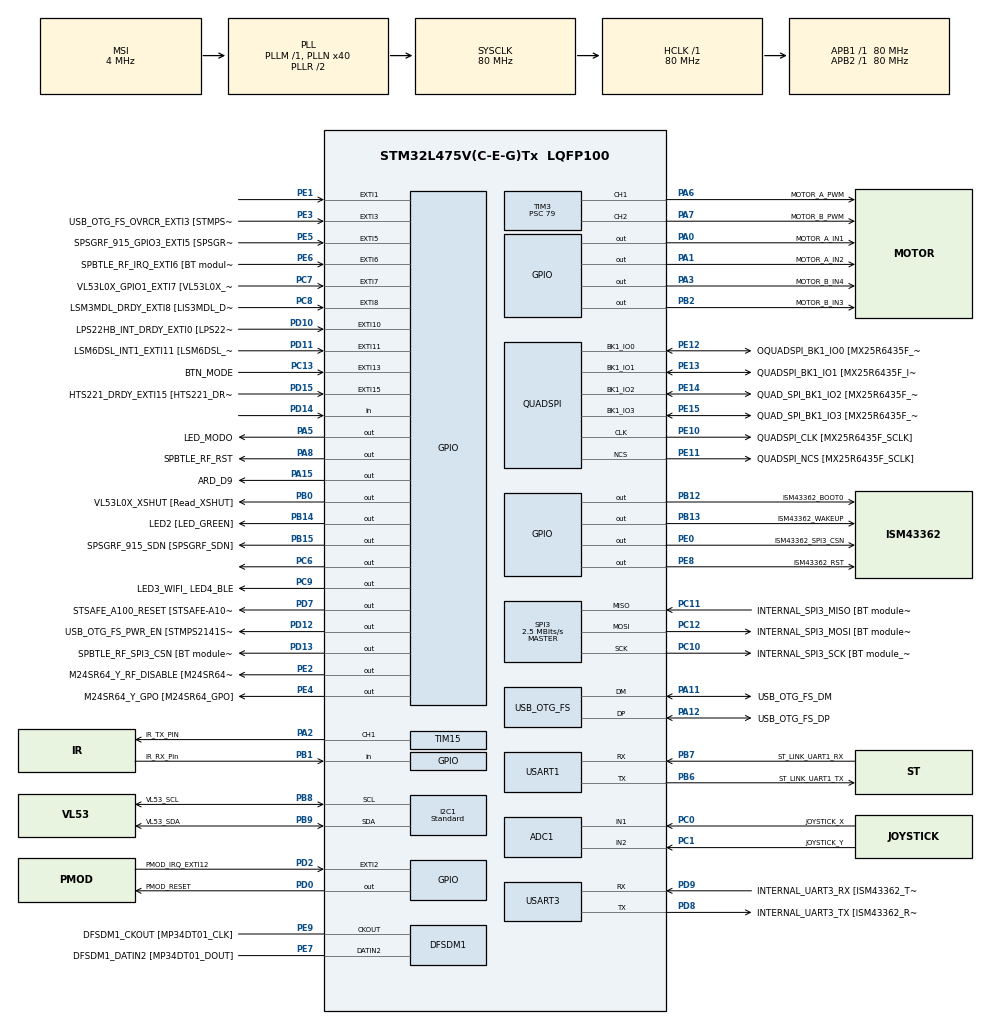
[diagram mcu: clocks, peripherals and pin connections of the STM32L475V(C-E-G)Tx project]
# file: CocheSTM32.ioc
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ADC1.Channel-1\#ChannelRegularConversion=ADC_CHANNEL_1
ADC1.Channel-2\#ChannelRegularConversion=ADC_CHANNEL_2
ADC1.ClockPrescaler=ADC_CLOCK_ASYNC_DIV1
ADC1.ContinuousConvMode=DISABLE
ADC1.EnableRegularConversion=ENABLE
ADC1.NbrOfConversion=2
ADC1.NbrOfConversionFlag=1
ADC1.OffsetNumber-1\#ChannelRegularConversion=ADC_OFFSET_NONE
ADC1.OffsetNumber-2\#ChannelRegularConversion=ADC_OFFSET_NONE
ADC1.Rank-1\#ChannelRegularConversion=1
ADC1.Rank-2\#ChannelRegularConversion=2
ADC1.SamplingTime-1\#ChannelRegularConversion=ADC_SAMPLETIME_247CYCLES_5
ADC1.SamplingTime-2\#ChannelRegularConversion=ADC_SAMPLETIME_247CYCLES_5
ADC1.master=1
I2C1.CustomTiming=Disabled
I2C1.I2C_Speed_Mode=I2C_Standard
I2C1.Speed=100
I2C1.Timing=0x10D19CE4
Mcu.Family=STM32L4
Mcu.Name=STM32L475V(C-E-G)Tx
Mcu.Package=LQFP100
NVIC.EXTI15_10_IRQn=true\:0\:0\:false\:false\:true\:true\:true\:true
NVIC.EXTI1_IRQn=true\:0\:0\:false\:false\:true\:true\:true\:true
NVIC.EXTI9_5_IRQn=true\:0\:0\:false\:false\:true\:true\:true\:true
NVIC.PriorityGroup=NVIC_PRIORITYGROUP_4
NVIC.SPI3_IRQn=true\:0\:0\:false\:false\:true\:true\:true\:true
PA0.GPIO_Label=MOTOR_A_IN1
PA0.Signal=GPIO_Output
PA1.GPIO_Label=MOTOR_A_IN2
PA1.Signal=GPIO_Output
PA10.GPIO_Label=USB_OTG_FS_ID
PA10.Signal=USB_OTG_FS_ID
PA11.GPIO_Label=USB_OTG_FS_DM
PA11.Mode=Device_Only
PA11.Signal=USB_OTG_FS_DM
PA12.GPIO_Label=USB_OTG_FS_DP
PA12.Mode=Device_Only
PA12.Signal=USB_OTG_FS_DP
PA13\ (JTMS-SWDIO).GPIO_Label=SYS_JTMS_SWDIO
PA13\ (JTMS-SWDIO).Mode=Serial_Wire
PA13\ (JTMS-SWDIO).Signal=SYS_JTMS-SWDIO
PA14\ (JTCK-SWCLK).GPIO_Label=SYS_JTCK_SWCLK
PA14\ (JTCK-SWCLK).Mode=Serial_Wire
PA14\ (JTCK-SWCLK).Signal=SYS_JTCK-SWCLK
PA15\ (JTDI).GPIO_Label=ARD_D9
PA15\ (JTDI).Signal=GPIO_Output
PA2.GPIO_Label=IR_TX_PIN
PA2.Signal=S_TIM15_CH1
PA3.GPIO_Label=MOTOR_B_IN4
PA3.Signal=GPIO_Output
PA4.GPIO_Label=ARD_D7
PA4.Signal=ADCx_IN9
PA5.GPIO_Label=LED_MODO
PA5.Signal=GPIO_Output
PA6.GPIO_Label=MOTOR_A_PWM
PA6.Signal=S_TIM3_CH1
PA7.GPIO_Label=MOTOR_B_PWM
PA7.Signal=S_TIM3_CH2
PA8.GPIO_Label=SPBTLE_RF_RST
PA8.Signal=GPIO_Output
PA9.GPIO_Label=USB_OTG_FS_VBUS [STMPS2141STR_OUT]
PA9.Signal=USB_OTG_FS_VBUS
PB0.GPIO_Label=VL53L0X_XSHUT [Read_XSHUT]
PB0.Signal=GPIO_Output
PB1.GPIO_Label=IR_RX_Pin
PB1.Signal=GPIO_Input
PB10.GPIO_Label=INTERNAL_I2C2_SCL [VL53L0X_SCL]
PB10.GPIO_Pu=GPIO_PULLUP
PB10.Signal=I2C2_SCL
PB11.GPIO_Label=INTERNAL_I2C2_SDA [VL53L0X_SDA]
PB11.GPIO_Pu=GPIO_PULLUP
PB11.Signal=I2C2_SDA
PB12.GPIO_Label=ISM43362_BOOT0
PB12.Signal=GPIO_Output
PB13.GPIO_Label=ISM43362_WAKEUP
PB13.Signal=GPIO_Output
PB14.GPIO_Label=LED2 [LED_GREEN]
PB14.Signal=GPIO_Output
PB15.GPIO_Label=SPSGRF_915_SDN [SPSGRF_SDN]
PB15.Signal=GPIO_Output
PB2.GPIO_Label=MOTOR_B_IN3
PB2.Signal=GPIO_Output
PB3\ (JTDO-TRACESWO).GPIO_Label=SYS_JTD0_SWO
PB3\ (JTDO-TRACESWO).Signal=SYS_JTDO-SWO
PB6.GPIO_Label=ST_LINK_UART1_TX
PB6.Mode=Asynchronous
PB6.Signal=USART1_TX
PB7.GPIO_Label=ST_LINK_UART1_RX
PB7.Mode=Asynchronous
PB7.Signal=USART1_RX
PB8.GPIO_Label=VL53_SCL
PB8.GPIO_Pu=GPIO_NOPULL
PB8.Mode=I2C
PB8.Signal=I2C1_SCL
PB9.GPIO_Label=VL53_SDA
PB9.GPIO_Pu=GPIO_NOPULL
PB9.Mode=I2C
PB9.Signal=I2C1_SDA
PC0.GPIO_Label=JOYSTICK_X
PC0.Signal=ADCx_IN1
PC1.GPIO_Label=JOYSTICK_Y
PC1.Signal=ADCx_IN2
PC10.GPIO_Label=INTERNAL_SPI3_SCK [BT module_SPI_SCLK] [ISM43362_SCK]
PC10.Mode=Full_Duplex_Master
PC10.Signal=SPI3_SCK
PC11.GPIO_Label=INTERNAL_SPI3_MISO [BT module_SPI_MISO] [ISM43362_MISO]
PC11.Mode=Full_Duplex_Master
PC11.Signal=SPI3_MISO
PC12.GPIO_Label=INTERNAL_SPI3_MOSI [BT module_SPI_MOSI] [ISM43362_MOSI]
PC12.Mode=Full_Duplex_Master
PC12.Signal=SPI3_MOSI
PC13.GPIO_Label=BTN_MODE
PC13.GPIO_ModeDefaultEXTI=GPIO_MODE_IT_FALLING
PC13.Signal=GPXTI13
PC14-OSC32_IN\ (PC14).Mode=LSE-External-Oscillator
PC14-OSC32_IN\ (PC14).Signal=RCC_OSC32_IN
PC15-OSC32_OUT\ (PC15).Mode=LSE-External-Oscillator
PC15-OSC32_OUT\ (PC15).Signal=RCC_OSC32_OUT
PC2.GPIO_Label=ARD_A3 [ADC]
PC2.Signal=ADCx_IN3
PC3.GPIO_Label=ARD_A2 [ADC]
PC3.Signal=ADCx_IN4
PC4.GPIO_Label=ARD_A1 [ADC]
PC4.Signal=ADCx_IN13
PC5.GPIO_Label=ARD_A0 [ADC]
PC5.Signal=ADCx_IN14
PC6.Signal=GPIO_Output
PC7.GPIO_Label=VL53L0X_GPIO1_EXTI7 [VL53L0X_GPIO1]
PC7.Signal=GPXTI7
PC8.GPIO_Label=LSM3MDL_DRDY_EXTI8 [LIS3MDL_DRDY]
PC8.Signal=GPXTI8
PC9.GPIO_Label=LED3_WIFI_ LED4_BLE
PC9.Signal=GPIO_Output
PD0.GPIO_Label=PMOD_RESET
PD0.Signal=GPIO_Output
PD1.GPIO_Label=PMOD_SPI2_SCK
PD1.Signal=SPI2_SCK
PD10.GPIO_Label=LPS22HB_INT_DRDY_EXTI0 [LPS22HB_INT_DRDY] 
PD10.Signal=GPXTI10
PD11.GPIO_Label=LSM6DSL_INT1_EXTI11 [LSM6DSL_INT1]
PD11.Signal=GPXTI11
PD12.GPIO_Label=USB_OTG_FS_PWR_EN [STMPS2141STR_EN]
PD12.Signal=GPIO_Output
PD13.GPIO_Label=SPBTLE_RF_SPI3_CSN [BT module_SPI_CS]
PD13.PinState=GPIO_PIN_SET
PD13.Signal=GPIO_Output
PD14.Signal=GPIO_Input
PD15.GPIO_Label=HTS221_DRDY_EXTI15 [HTS221_DRDY]
PD15.Signal=GPXTI15
PD2.GPIO_Label=PMOD_IRQ_EXTI12
PD2.Signal=GPXTI2
PD3.GPIO_Label=PMOD_UART2_CTS
PD3.Signal=USART2_CTS
PD4.GPIO_Label=PMOD_UART2_RTS
PD4.Signal=USART2_RTS
PD5.GPIO_Label=PMOD_UART2_TX
PD5.Signal=USART2_TX
PD6.GPIO_Label=PMOD_UART2_RX
PD6.Signal=USART2_RX
PD7.GPIO_Label=STSAFE_A100_RESET [STSAFE-A100_RESET]
PD7.Signal=GPIO_Output
PD8.GPIO_Label=INTERNAL_UART3_TX [ISM43362_RX]
PD8.Mode=Asynchronous
PD8.Signal=USART3_TX
PD9.GPIO_Label=INTERNAL_UART3_RX [ISM43362_TX]
PD9.Mode=Asynchronous
PD9.Signal=USART3_RX
PE0.GPIO_Label=ISM43362_SPI3_CSN
PE0.PinState=GPIO_PIN_SET
PE0.Signal=GPIO_Output
PE1.Signal=GPXTI1
PE10.GPIO_Label=QUADSPI_CLK [MX25R6435F_SCLK]
PE10.Mode=Single Bank
PE10.Signal=QUADSPI_CLK
PE11.GPIO_Label=QUADSPI_NCS [MX25R6435F_SCLK]
PE11.Mode=Single Bank
PE11.Signal=QUADSPI_NCS
PE12.GPIO_Label=OQUADSPI_BK1_IO0 [MX25R6435F_IO0]
PE12.Mode=Single Bank
PE12.Signal=QUADSPI_BK1_IO0
PE13.GPIO_Label=QUADSPI_BK1_IO1 [MX25R6435F_IO1]
PE13.Mode=Single Bank
PE13.Signal=QUADSPI_BK1_IO1
PE14.GPIO_Label=QUAD_SPI_BK1_IO2 [MX25R6435F_IO2]
PE14.Mode=Single Bank
PE14.Signal=QUADSPI_BK1_IO2
PE15.GPIO_Label=QUAD_SPI_BK1_IO3 [MX25R6435F_IO3]
PE15.Mode=Single Bank
PE15.Signal=QUADSPI_BK1_IO3
PE2.GPIO_Label=M24SR64_Y_RF_DISABLE [M24SR64_RFDIS]
PE2.Signal=GPIO_Output
PE3.GPIO_Label=USB_OTG_FS_OVRCR_EXTI3 [STMPS2141STR_FAULT]
PE3.Signal=GPXTI3
PE4.GPIO_Label=M24SR64_Y_GPO [M24SR64_GPO]
PE4.Signal=GPIO_Output
PE5.GPIO_Label=SPSGRF_915_GPIO3_EXTI5 [SPSGRF_GPIO_3]
PE5.Signal=GPXTI5
PE6.GPIO_Label=SPBTLE_RF_IRQ_EXTI6 [BT module_SPI_IRQ]
PE6.Signal=GPXTI6
PE7.GPIO_Label=DFSDM1_DATIN2 [MP34DT01_DOUT]
PE7.Signal=S_DATAIN2DFSDM1
PE8.GPIO_Label=ISM43362_RST
PE8.Signal=GPIO_Output
PE9.GPIO_Label=DFSDM1_CKOUT [MP34DT01_CLK]
PE9.Signal=S_CKOUTDFSDM1
ProjectManager.HeapSize=0x2000
ProjectManager.StackSize=0x4000
ProjectManager.TargetToolchain=STM32CubeIDE
QUADSPI.ClockPrescaler=2
QUADSPI.FifoThreshold=4
QUADSPI.FlashSize=23
QUADSPI.SampleShifting=QSPI_SAMPLE_SHIFTING_HALFCYCLE
RCC.ADCFreq_Value=48000000
RCC.AHBFreq_Value=80000000
RCC.APB1Freq_Value=80000000
RCC.APB1TimFreq_Value=80000000
RCC.APB2Freq_Value=80000000
RCC.APB2TimFreq_Value=80000000
RCC.CortexFreq_Value=80000000
RCC.HCLKFreq_Value=80000000
RCC.HSE_VALUE=8000000
RCC.HSI_VALUE=16000000
RCC.MSI_VALUE=4000000
RCC.PLLN=40
RCC.PLLSAI1N=24
RCC.SYSCLKFreq_VALUE=80000000
RCC.SYSCLKSource=RCC_SYSCLKSOURCE_PLLCLK
RCC.USBFreq_Value=48000000
RCC.VCOOutputFreq_Value=160000000
SH.ADCx_IN1.0=ADC1_IN1,IN1-Single-Ended
SH.ADCx_IN13.0=ADC1_IN13
SH.ADCx_IN14.0=ADC1_IN14
SH.ADCx_IN2.0=ADC1_IN2,IN2-Single-Ended
SH.ADCx_IN3.0=ADC1_IN3
SH.ADCx_IN4.0=ADC1_IN4
SH.ADCx_IN9.0=ADC1_IN9
SH.S_CKOUTDFSDM1.0=DFSDM1_CKOUT,CKOUT
SH.S_CKOUTDFSDM1.1=DFSDM1_CKOUT,PDM_SPI_Input_from_ch12_and_Internal_Clock
SH.S_DATAIN2DFSDM1.0=DFSDM1_DATIN2,PDM_SPI_Input_from_ch12_and_Internal_Clock
SH.S_TIM15_CH1.0=TIM15_CH1,PWM Generation1 CH1
SH.S_TIM3_CH1.0=TIM3_CH1,PWM Generation1 CH1
SH.S_TIM3_CH2.0=TIM3_CH2,PWM Generation2 CH2
SPI3.BaudRatePrescaler=SPI_BAUDRATEPRESCALER_32
SPI3.CLKPhase=SPI_PHASE_2EDGE
SPI3.CLKPolarity=SPI_POLARITY_HIGH
SPI3.CalculateBaudRate=2.5 MBits/s
SPI3.DataSize=SPI_DATASIZE_8BIT
SPI3.Direction=SPI_DIRECTION_2LINES
SPI3.Mode=SPI_MODE_MASTER
SPI3.VirtualType=VM_MASTER
TIM15.Channel-PWM\ Generation1\ CH1=TIM_CHANNEL_1
TIM15.Period=2104
TIM15.Pulse-PWM\ Generation1\ CH1=1052
TIM3.Channel-PWM\ Generation1\ CH1=TIM_CHANNEL_1
TIM3.Channel-PWM\ Generation2\ CH2=TIM_CHANNEL_2
TIM3.OCPolarity_1=TIM_OCPOLARITY_HIGH
TIM3.OCPolarity_2=TIM_OCPOLARITY_HIGH
TIM3.Period=1000
TIM3.Prescaler=79
USART1.VirtualMode-Asynchronous=VM_ASYNC
USART3.VirtualMode-Asynchronous=VM_ASYNC
USB_OTG_FS.VirtualMode=Device_Only
board=B-L475E-IOT01A1

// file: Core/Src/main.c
/* USER CODE BEGIN Header */
/**
 ******************************************************************************
 * @file           : main.c
 * @brief          : Main program body
 ******************************************************************************
 * @attention
 *
 * Copyright (c) 2026 STMicroelectronics.
 * All rights reserved.
 *
 * This software is licensed under terms that can be found in the LICENSE file
 * in the root directory of this software component.
 * If no LICENSE file comes with this software, it is provided AS-IS.
 *
 ******************************************************************************
 */
/* USER CODE END Header */
#include "main.h"

/* USER CODE BEGIN Includes */
#include <stdio.h>
#include "joystick_motor.h"
#include "VL53_Seguimiento.h"
#include "Estado_LED.h"
#include "Comunicacion_Wifi.h"
#include "Infrarojo_id.h"

/* USER CODE END Includes */

ADC_HandleTypeDef hadc1;

DFSDM_Channel_HandleTypeDef hdfsdm1_channel1;

I2C_HandleTypeDef hi2c1;

QSPI_HandleTypeDef hqspi;

SPI_HandleTypeDef hspi3;

TIM_HandleTypeDef htim3;
TIM_HandleTypeDef htim15;

UART_HandleTypeDef huart1;
UART_HandleTypeDef huart3;

PCD_HandleTypeDef hpcd_USB_OTG_FS;

/* USER CODE BEGIN PV */
extern UART_HandleTypeDef huart1;
uint8_t MI_PROPIA_ID = 0;

int _write(int file, char *ptr, int len) {
	HAL_UART_Transmit(&huart1, (uint8_t*) ptr, len, HAL_MAX_DELAY);
	return len;
}

uint16_t dist_mm = 0;
COCHE_ESTADO_t estadoCoche = MODO_MANUAL;
uint8_t Generar_ID_Unica(void);
/* USER CODE END PV */

void SystemClock_Config(void);
void PeriphCommonClock_Config(void);
static void MX_GPIO_Init(void);
static void MX_DFSDM1_Init(void);
static void MX_QUADSPI_Init(void);
static void MX_SPI3_Init(void);
static void MX_USB_OTG_FS_PCD_Init(void);
static void MX_ADC1_Init(void);
static void MX_TIM3_Init(void);
static void MX_I2C1_Init(void);
static void MX_USART1_UART_Init(void);
static void MX_USART3_UART_Init(void);
static void MX_TIM15_Init(void);

int main(void)
{

  /* MCU Configuration--------------------------------------------------------*/

  /* Reset of all peripherals, Initializes the Flash interface and the Systick. */
  HAL_Init();

  /* Configure the system clock */
  SystemClock_Config();

  /* Configure the peripherals common clocks */
  PeriphCommonClock_Config();

  /* Initialize all configured peripherals */
  MX_GPIO_Init();
  MX_DFSDM1_Init();
  MX_QUADSPI_Init();
  MX_SPI3_Init();
  MX_USB_OTG_FS_PCD_Init();
  MX_ADC1_Init();
  MX_TIM3_Init();
  MX_I2C1_Init();
  MX_USART1_UART_Init();
  MX_USART3_UART_Init();
  MX_TIM15_Init();
  /* USER CODE BEGIN 2 */
	HAL_GPIO_WritePin(GPIOE, GPIO_PIN_8, GPIO_PIN_RESET);
	HAL_Delay(100);

    JoystickMotor_Init();
    JoystickMotor_Init();
    MI_PROPIA_ID = Generar_ID_Unica();
    printf("Mi ID de vehiculo es: %d\r\n", MI_PROPIA_ID);
	LED_Init();
	Seguimiento_Init();
	HAL_Delay(500);
	Infrarrojo_Init();
	HAL_Delay(500);

	HAL_GPIO_WritePin(GPIOE, GPIO_PIN_8, GPIO_PIN_SET);
	HAL_Delay(500);

	Wifi_Init_System();
  /* USER CODE END 2 */

  /* Infinite loop */
  /* USER CODE BEGIN WHILE */
	//int16_t vel_simulada = 0;
	uint32_t wifi_tick = 0;
	printf("Listo para emparejar la ID\r\n");
	while (1) {
		/* ================= FUNCIONES PRUEBA MOVIMIENTOS BASICOS DEL COCHE ================= */
		// Dentro del while(1) de tu main.c
//		int16_t mi_potencia = 1000;
//		printf("Enviando a motores: %d\r\n", mi_potencia);
//		Motor_Set(mi_potencia, -mi_potencia);
		/*HAL_Delay(2000);

		 Motor_Set(0, 600);
		 HAL_Delay(2000);

		 Motor_Stop();
		 HAL_Delay(2000);
		 */

		/* ================= FUNCIONES PRUEBA MANEJO DEL COCHE ================= */
//		Joystick_Update();
//		 HAL_Delay(200);
//		/* ================= FUNCIONES PRUEBA SEGUIMIENTO DEL COCHE ================= */
//		Seguimiento_Update();
//		HAL_Delay(50);
		/* ================= FUNCION PRUEBA WIFI ================= */;
		/*vel_simulada += 10;
		 if (vel_simulada > 100)
		 vel_simulada = 0;

		 Wifi_Enviar_Datos(vel_simulada, 45, 0);

		 printf("Paquete enviado -> Vel: %d, Ang: 45, Freno: 0\r\n",
		 vel_simulada);

		 HAL_Delay(1000); // Mandar un paquete cada segundo

		 /* ================= FUNCIONES MODOS DEL COCHE ================= */
		/*Wifi_Recibir_Datos();

		 if (cocheModo == CocheModo_MANUAL) {
		 Joystick_Update();
		 estadoCoche = MODO_MANUAL;
		 } else {
		 SeguimientoState_t f = Seguimiento_Update();

		 if (f == Seguimiento_PARADA_EMERGENCIA)
		 estadoCoche = MODO_AUTO_STOP;
		 else if (f == Seguimiento_FRENADO)
		 estadoCoche = MODO_AUTO_FRENANDO;
		 else
		 estadoCoche = MODO_AUTO_SEGUIMIENTO;
		 }

		 LED_Update(estadoCoche);

		 //Para evitar saturacion(Sin esto se queda muy atascado, preguntar para el tema de giro si afecta)
		 if (HAL_GetTick() - wifi_tick >= 100) {
		 wifi_tick = HAL_GetTick();
		 Wifi_Enviar_Datos(g_velocidad, g_angulo, g_freno);
		 printf("Paquete enviado -> Vel: %d, Ang: %d, Freno: %d\r\n",
		 g_velocidad, g_angulo, g_freno);
		 }

		 HAL_Delay(5);*/

		// Control de Modos
		if (cocheModo == CocheModo_MANUAL) {
			Joystick_Update();
			estadoCoche = MODO_MANUAL;
		} else {
			// El modo automático gestiona su propio WiFi de recepción internamente
			SeguimientoState_t f = Seguimiento_Update();

			if (f == Seguimiento_PARADA_EMERGENCIA)
				estadoCoche = MODO_AUTO_STOP;
			else if (f == Seguimiento_FRENADO)
				estadoCoche = MODO_AUTO_FRENANDO;
			else if (f == Seguimiento_BUSCANDO)
				estadoCoche = MODO_AUTO_SEGUIMIENTO; // Parpadea el led
			else
				estadoCoche = MODO_AUTO_SEGUIMIENTO;
		}

		LED_Update(estadoCoche);

		// Limita el envio de mensaje por WIFI para evitar que se sature
		if (cocheModo == CocheModo_MANUAL
				&& (HAL_GetTick() - wifi_tick >= 100)) {
			wifi_tick = HAL_GetTick();
			Wifi_Enviar_Datos(MI_PROPIA_ID, g_velocidad, g_angulo, g_freno);
			Infrarrojo_Enviar_ID(MI_PROPIA_ID);
		}

		HAL_Delay(5);

    /* USER CODE END WHILE */

	}
}

void SystemClock_Config(void)
{
  RCC_OscInitTypeDef RCC_OscInitStruct = {0};
  RCC_ClkInitTypeDef RCC_ClkInitStruct = {0};

  /** Configure the main internal regulator output voltage
  */
  if (HAL_PWREx_ControlVoltageScaling(PWR_REGULATOR_VOLTAGE_SCALE1) != HAL_OK)
  {
    Error_Handler();
  }

  /** Configure LSE Drive Capability
  */
  HAL_PWR_EnableBkUpAccess();
  __HAL_RCC_LSEDRIVE_CONFIG(RCC_LSEDRIVE_LOW);

  /** Initializes the RCC Oscillators according to the specified parameters
  * in the RCC_OscInitTypeDef structure.
  */
  RCC_OscInitStruct.OscillatorType = RCC_OSCILLATORTYPE_LSE|RCC_OSCILLATORTYPE_MSI;
  RCC_OscInitStruct.LSEState = RCC_LSE_ON;
  RCC_OscInitStruct.MSIState = RCC_MSI_ON;
  RCC_OscInitStruct.MSICalibrationValue = 0;
  RCC_OscInitStruct.MSIClockRange = RCC_MSIRANGE_6;
  RCC_OscInitStruct.PLL.PLLState = RCC_PLL_ON;
  RCC_OscInitStruct.PLL.PLLSource = RCC_PLLSOURCE_MSI;
  RCC_OscInitStruct.PLL.PLLM = 1;
  RCC_OscInitStruct.PLL.PLLN = 40;
  RCC_OscInitStruct.PLL.PLLP = RCC_PLLP_DIV7;
  RCC_OscInitStruct.PLL.PLLQ = RCC_PLLQ_DIV2;
  RCC_OscInitStruct.PLL.PLLR = RCC_PLLR_DIV2;
  if (HAL_RCC_OscConfig(&RCC_OscInitStruct) != HAL_OK)
  {
    Error_Handler();
  }

  /** Initializes the CPU, AHB and APB buses clocks
  */
  RCC_ClkInitStruct.ClockType = RCC_CLOCKTYPE_HCLK|RCC_CLOCKTYPE_SYSCLK
                              |RCC_CLOCKTYPE_PCLK1|RCC_CLOCKTYPE_PCLK2;
  RCC_ClkInitStruct.SYSCLKSource = RCC_SYSCLKSOURCE_PLLCLK;
  RCC_ClkInitStruct.AHBCLKDivider = RCC_SYSCLK_DIV1;
  RCC_ClkInitStruct.APB1CLKDivider = RCC_HCLK_DIV1;
  RCC_ClkInitStruct.APB2CLKDivider = RCC_HCLK_DIV1;

  if (HAL_RCC_ClockConfig(&RCC_ClkInitStruct, FLASH_LATENCY_4) != HAL_OK)
  {
    Error_Handler();
  }

  /** Enable MSI Auto calibration
  */
  HAL_RCCEx_EnableMSIPLLMode();
}

void PeriphCommonClock_Config(void)
{
  RCC_PeriphCLKInitTypeDef PeriphClkInit = {0};

  /** Initializes the peripherals clock
  */
  PeriphClkInit.PeriphClockSelection = RCC_PERIPHCLK_USB|RCC_PERIPHCLK_ADC;
  PeriphClkInit.AdcClockSelection = RCC_ADCCLKSOURCE_PLLSAI1;
  PeriphClkInit.UsbClockSelection = RCC_USBCLKSOURCE_PLLSAI1;
  PeriphClkInit.PLLSAI1.PLLSAI1Source = RCC_PLLSOURCE_MSI;
  PeriphClkInit.PLLSAI1.PLLSAI1M = 1;
  PeriphClkInit.PLLSAI1.PLLSAI1N = 24;
  PeriphClkInit.PLLSAI1.PLLSAI1P = RCC_PLLP_DIV7;
  PeriphClkInit.PLLSAI1.PLLSAI1Q = RCC_PLLQ_DIV2;
  PeriphClkInit.PLLSAI1.PLLSAI1R = RCC_PLLR_DIV2;
  PeriphClkInit.PLLSAI1.PLLSAI1ClockOut = RCC_PLLSAI1_48M2CLK|RCC_PLLSAI1_ADC1CLK;
  if (HAL_RCCEx_PeriphCLKConfig(&PeriphClkInit) != HAL_OK)
  {
    Error_Handler();
  }
}

static void MX_ADC1_Init(void)
{

  ADC_MultiModeTypeDef multimode = {0};
  ADC_ChannelConfTypeDef sConfig = {0};

  /** Common config
  */
  hadc1.Instance = ADC1;
  hadc1.Init.ClockPrescaler = ADC_CLOCK_ASYNC_DIV1;
  hadc1.Init.Resolution = ADC_RESOLUTION_12B;
  hadc1.Init.DataAlign = ADC_DATAALIGN_RIGHT;
  hadc1.Init.ScanConvMode = ADC_SCAN_ENABLE;
  hadc1.Init.EOCSelection = ADC_EOC_SINGLE_CONV;
  hadc1.Init.LowPowerAutoWait = DISABLE;
  hadc1.Init.ContinuousConvMode = DISABLE;
  hadc1.Init.NbrOfConversion = 2;
  hadc1.Init.DiscontinuousConvMode = DISABLE;
  hadc1.Init.ExternalTrigConv = ADC_SOFTWARE_START;
  hadc1.Init.ExternalTrigConvEdge = ADC_EXTERNALTRIGCONVEDGE_NONE;
  hadc1.Init.DMAContinuousRequests = DISABLE;
  hadc1.Init.Overrun = ADC_OVR_DATA_PRESERVED;
  hadc1.Init.OversamplingMode = DISABLE;
  if (HAL_ADC_Init(&hadc1) != HAL_OK)
  {
    Error_Handler();
  }

  /** Configure the ADC multi-mode
  */
  multimode.Mode = ADC_MODE_INDEPENDENT;
  if (HAL_ADCEx_MultiModeConfigChannel(&hadc1, &multimode) != HAL_OK)
  {
    Error_Handler();
  }

  /** Configure Regular Channel
  */
  sConfig.Channel = ADC_CHANNEL_1;
  sConfig.Rank = ADC_REGULAR_RANK_1;
  sConfig.SamplingTime = ADC_SAMPLETIME_247CYCLES_5;
  sConfig.SingleDiff = ADC_SINGLE_ENDED;
  sConfig.OffsetNumber = ADC_OFFSET_NONE;
  sConfig.Offset = 0;
  if (HAL_ADC_ConfigChannel(&hadc1, &sConfig) != HAL_OK)
  {
    Error_Handler();
  }

  /** Configure Regular Channel
  */
  sConfig.Channel = ADC_CHANNEL_2;
  sConfig.Rank = ADC_REGULAR_RANK_2;
  if (HAL_ADC_ConfigChannel(&hadc1, &sConfig) != HAL_OK)
  {
    Error_Handler();
  }

}

static void MX_DFSDM1_Init(void)
{

  hdfsdm1_channel1.Instance = DFSDM1_Channel1;
  hdfsdm1_channel1.Init.OutputClock.Activation = ENABLE;
  hdfsdm1_channel1.Init.OutputClock.Selection = DFSDM_CHANNEL_OUTPUT_CLOCK_SYSTEM;
  hdfsdm1_channel1.Init.OutputClock.Divider = 2;
  hdfsdm1_channel1.Init.Input.Multiplexer = DFSDM_CHANNEL_EXTERNAL_INPUTS;
  hdfsdm1_channel1.Init.Input.DataPacking = DFSDM_CHANNEL_STANDARD_MODE;
  hdfsdm1_channel1.Init.Input.Pins = DFSDM_CHANNEL_FOLLOWING_CHANNEL_PINS;
  hdfsdm1_channel1.Init.SerialInterface.Type = DFSDM_CHANNEL_SPI_RISING;
  hdfsdm1_channel1.Init.SerialInterface.SpiClock = DFSDM_CHANNEL_SPI_CLOCK_INTERNAL;
  hdfsdm1_channel1.Init.Awd.FilterOrder = DFSDM_CHANNEL_FASTSINC_ORDER;
  hdfsdm1_channel1.Init.Awd.Oversampling = 1;
  hdfsdm1_channel1.Init.Offset = 0;
  hdfsdm1_channel1.Init.RightBitShift = 0x00;
  if (HAL_DFSDM_ChannelInit(&hdfsdm1_channel1) != HAL_OK)
  {
    Error_Handler();
  }

}

static void MX_I2C1_Init(void)
{

  hi2c1.Instance = I2C1;
  hi2c1.Init.Timing = 0x10D19CE4;
  hi2c1.Init.OwnAddress1 = 0;
  hi2c1.Init.AddressingMode = I2C_ADDRESSINGMODE_7BIT;
  hi2c1.Init.DualAddressMode = I2C_DUALADDRESS_DISABLE;
  hi2c1.Init.OwnAddress2 = 0;
  hi2c1.Init.OwnAddress2Masks = I2C_OA2_NOMASK;
  hi2c1.Init.GeneralCallMode = I2C_GENERALCALL_DISABLE;
  hi2c1.Init.NoStretchMode = I2C_NOSTRETCH_DISABLE;
  if (HAL_I2C_Init(&hi2c1) != HAL_OK)
  {
    Error_Handler();
  }

  /** Configure Analogue filter
  */
  if (HAL_I2CEx_ConfigAnalogFilter(&hi2c1, I2C_ANALOGFILTER_ENABLE) != HAL_OK)
  {
    Error_Handler();
  }

  /** Configure Digital filter
  */
  if (HAL_I2CEx_ConfigDigitalFilter(&hi2c1, 0) != HAL_OK)
  {
    Error_Handler();
  }

}

static void MX_QUADSPI_Init(void)
{

  /* QUADSPI parameter configuration*/
  hqspi.Instance = QUADSPI;
  hqspi.Init.ClockPrescaler = 2;
  hqspi.Init.FifoThreshold = 4;
  hqspi.Init.SampleShifting = QSPI_SAMPLE_SHIFTING_HALFCYCLE;
  hqspi.Init.FlashSize = 23;
  hqspi.Init.ChipSelectHighTime = QSPI_CS_HIGH_TIME_1_CYCLE;
  hqspi.Init.ClockMode = QSPI_CLOCK_MODE_0;
  if (HAL_QSPI_Init(&hqspi) != HAL_OK)
  {
    Error_Handler();
  }

}

static void MX_SPI3_Init(void)
{

  /* SPI3 parameter configuration*/
  hspi3.Instance = SPI3;
  hspi3.Init.Mode = SPI_MODE_MASTER;
  hspi3.Init.Direction = SPI_DIRECTION_2LINES;
  hspi3.Init.DataSize = SPI_DATASIZE_8BIT;
  hspi3.Init.CLKPolarity = SPI_POLARITY_HIGH;
  hspi3.Init.CLKPhase = SPI_PHASE_2EDGE;
  hspi3.Init.NSS = SPI_NSS_SOFT;
  hspi3.Init.BaudRatePrescaler = SPI_BAUDRATEPRESCALER_32;
  hspi3.Init.FirstBit = SPI_FIRSTBIT_MSB;
  hspi3.Init.TIMode = SPI_TIMODE_DISABLE;
  hspi3.Init.CRCCalculation = SPI_CRCCALCULATION_DISABLE;
  hspi3.Init.CRCPolynomial = 7;
  hspi3.Init.CRCLength = SPI_CRC_LENGTH_DATASIZE;
  hspi3.Init.NSSPMode = SPI_NSS_PULSE_DISABLE;
  if (HAL_SPI_Init(&hspi3) != HAL_OK)
  {
    Error_Handler();
  }

}

static void MX_TIM3_Init(void)
{

  TIM_MasterConfigTypeDef sMasterConfig = {0};
  TIM_OC_InitTypeDef sConfigOC = {0};

  htim3.Instance = TIM3;
  htim3.Init.Prescaler = 79;
  htim3.Init.CounterMode = TIM_COUNTERMODE_UP;
  htim3.Init.Period = 1000;
  htim3.Init.ClockDivision = TIM_CLOCKDIVISION_DIV1;
  htim3.Init.AutoReloadPreload = TIM_AUTORELOAD_PRELOAD_DISABLE;
  if (HAL_TIM_PWM_Init(&htim3) != HAL_OK)
  {
    Error_Handler();
  }
  sMasterConfig.MasterOutputTrigger = TIM_TRGO_RESET;
  sMasterConfig.MasterSlaveMode = TIM_MASTERSLAVEMODE_DISABLE;
  if (HAL_TIMEx_MasterConfigSynchronization(&htim3, &sMasterConfig) != HAL_OK)
  {
    Error_Handler();
  }
  sConfigOC.OCMode = TIM_OCMODE_PWM1;
  sConfigOC.Pulse = 0;
  sConfigOC.OCPolarity = TIM_OCPOLARITY_HIGH;
  sConfigOC.OCFastMode = TIM_OCFAST_DISABLE;
  if (HAL_TIM_PWM_ConfigChannel(&htim3, &sConfigOC, TIM_CHANNEL_1) != HAL_OK)
  {
    Error_Handler();
  }
  if (HAL_TIM_PWM_ConfigChannel(&htim3, &sConfigOC, TIM_CHANNEL_2) != HAL_OK)
  {
    Error_Handler();
  }
  HAL_TIM_MspPostInit(&htim3);

}

static void MX_TIM15_Init(void)
{

  TIM_MasterConfigTypeDef sMasterConfig = {0};
  TIM_OC_InitTypeDef sConfigOC = {0};
  TIM_BreakDeadTimeConfigTypeDef sBreakDeadTimeConfig = {0};

  htim15.Instance = TIM15;
  htim15.Init.Prescaler = 0;
  htim15.Init.CounterMode = TIM_COUNTERMODE_UP;
  htim15.Init.Period = 2104;
  htim15.Init.ClockDivision = TIM_CLOCKDIVISION_DIV1;
  htim15.Init.RepetitionCounter = 0;
  htim15.Init.AutoReloadPreload = TIM_AUTORELOAD_PRELOAD_DISABLE;
  if (HAL_TIM_PWM_Init(&htim15) != HAL_OK)
  {
    Error_Handler();
  }
  sMasterConfig.MasterOutputTrigger = TIM_TRGO_RESET;
  sMasterConfig.MasterSlaveMode = TIM_MASTERSLAVEMODE_DISABLE;
  if (HAL_TIMEx_MasterConfigSynchronization(&htim15, &sMasterConfig) != HAL_OK)
  {
    Error_Handler();
  }
  sConfigOC.OCMode = TIM_OCMODE_PWM1;
  sConfigOC.Pulse = 1052;
  sConfigOC.OCPolarity = TIM_OCPOLARITY_HIGH;
  sConfigOC.OCNPolarity = TIM_OCNPOLARITY_HIGH;
  sConfigOC.OCFastMode = TIM_OCFAST_DISABLE;
  sConfigOC.OCIdleState = TIM_OCIDLESTATE_RESET;
  sConfigOC.OCNIdleState = TIM_OCNIDLESTATE_RESET;
  if (HAL_TIM_PWM_ConfigChannel(&htim15, &sConfigOC, TIM_CHANNEL_1) != HAL_OK)
  {
    Error_Handler();
  }
  sBreakDeadTimeConfig.OffStateRunMode = TIM_OSSR_DISABLE;
  sBreakDeadTimeConfig.OffStateIDLEMode = TIM_OSSI_DISABLE;
  sBreakDeadTimeConfig.LockLevel = TIM_LOCKLEVEL_OFF;
  sBreakDeadTimeConfig.DeadTime = 0;
  sBreakDeadTimeConfig.BreakState = TIM_BREAK_DISABLE;
  sBreakDeadTimeConfig.BreakPolarity = TIM_BREAKPOLARITY_HIGH;
  sBreakDeadTimeConfig.AutomaticOutput = TIM_AUTOMATICOUTPUT_DISABLE;
  if (HAL_TIMEx_ConfigBreakDeadTime(&htim15, &sBreakDeadTimeConfig) != HAL_OK)
  {
    Error_Handler();
  }
  HAL_TIM_MspPostInit(&htim15);

}

static void MX_USART1_UART_Init(void)
{

  huart1.Instance = USART1;
  huart1.Init.BaudRate = 115200;
  huart1.Init.WordLength = UART_WORDLENGTH_8B;
  huart1.Init.StopBits = UART_STOPBITS_1;
  huart1.Init.Parity = UART_PARITY_NONE;
  huart1.Init.Mode = UART_MODE_TX_RX;
  huart1.Init.HwFlowCtl = UART_HWCONTROL_NONE;
  huart1.Init.OverSampling = UART_OVERSAMPLING_16;
  huart1.Init.OneBitSampling = UART_ONE_BIT_SAMPLE_DISABLE;
  huart1.AdvancedInit.AdvFeatureInit = UART_ADVFEATURE_NO_INIT;
  if (HAL_UART_Init(&huart1) != HAL_OK)
  {
    Error_Handler();
  }

}

static void MX_USART3_UART_Init(void)
{

  huart3.Instance = USART3;
  huart3.Init.BaudRate = 115200;
  huart3.Init.WordLength = UART_WORDLENGTH_8B;
  huart3.Init.StopBits = UART_STOPBITS_1;
  huart3.Init.Parity = UART_PARITY_NONE;
  huart3.Init.Mode = UART_MODE_TX_RX;
  huart3.Init.HwFlowCtl = UART_HWCONTROL_NONE;
  huart3.Init.OverSampling = UART_OVERSAMPLING_16;
  huart3.Init.OneBitSampling = UART_ONE_BIT_SAMPLE_DISABLE;
  huart3.AdvancedInit.AdvFeatureInit = UART_ADVFEATURE_NO_INIT;
  if (HAL_UART_Init(&huart3) != HAL_OK)
  {
    Error_Handler();
  }

}

static void MX_USB_OTG_FS_PCD_Init(void)
{

  hpcd_USB_OTG_FS.Instance = USB_OTG_FS;
  hpcd_USB_OTG_FS.Init.dev_endpoints = 6;
  hpcd_USB_OTG_FS.Init.speed = PCD_SPEED_FULL;
  hpcd_USB_OTG_FS.Init.phy_itface = PCD_PHY_EMBEDDED;
  hpcd_USB_OTG_FS.Init.Sof_enable = DISABLE;
  hpcd_USB_OTG_FS.Init.low_power_enable = DISABLE;
  hpcd_USB_OTG_FS.Init.lpm_enable = DISABLE;
  hpcd_USB_OTG_FS.Init.battery_charging_enable = DISABLE;
  hpcd_USB_OTG_FS.Init.use_dedicated_ep1 = DISABLE;
  hpcd_USB_OTG_FS.Init.vbus_sensing_enable = DISABLE;
  if (HAL_PCD_Init(&hpcd_USB_OTG_FS) != HAL_OK)
  {
    Error_Handler();
  }

}

static void MX_GPIO_Init(void)
{
  GPIO_InitTypeDef GPIO_InitStruct = {0};

  /* GPIO Ports Clock Enable */
  __HAL_RCC_GPIOE_CLK_ENABLE();
  __HAL_RCC_GPIOC_CLK_ENABLE();
  __HAL_RCC_GPIOA_CLK_ENABLE();
  __HAL_RCC_GPIOB_CLK_ENABLE();
  __HAL_RCC_GPIOD_CLK_ENABLE();

  /*Configure GPIO pin Output Level */
  HAL_GPIO_WritePin(GPIOE, M24SR64_Y_RF_DISABLE_Pin|M24SR64_Y_GPO_Pin|ISM43362_RST_Pin, GPIO_PIN_RESET);

  /*Configure GPIO pin Output Level */
  HAL_GPIO_WritePin(GPIOA, MOTOR_A_IN1_Pin|MOTOR_A_IN2_Pin|MOTOR_B_IN4_Pin|LED_MODO_Pin
                          |SPBTLE_RF_RST_Pin|ARD_D9_Pin, GPIO_PIN_RESET);

  /*Configure GPIO pin Output Level */
  HAL_GPIO_WritePin(GPIOB, VL53L0X_XSHUT_Pin|MOTOR_B_IN3_Pin|ISM43362_BOOT0_Pin|ISM43362_WAKEUP_Pin
                          |LED2_Pin|SPSGRF_915_SDN_Pin, GPIO_PIN_RESET);

  /*Configure GPIO pin Output Level */
  HAL_GPIO_WritePin(GPIOD, USB_OTG_FS_PWR_EN_Pin|PMOD_RESET_Pin|STSAFE_A100_RESET_Pin, GPIO_PIN_RESET);

  /*Configure GPIO pin Output Level */
  HAL_GPIO_WritePin(SPBTLE_RF_SPI3_CSN_GPIO_Port, SPBTLE_RF_SPI3_CSN_Pin, GPIO_PIN_SET);

  /*Configure GPIO pin Output Level */
  HAL_GPIO_WritePin(GPIOC, GPIO_PIN_6|LED3_WIFI__LED4_BLE_Pin, GPIO_PIN_RESET);

  /*Configure GPIO pin Output Level */
  HAL_GPIO_WritePin(ISM43362_SPI3_CSN_GPIO_Port, ISM43362_SPI3_CSN_Pin, GPIO_PIN_SET);

  /*Configure GPIO pins : M24SR64_Y_RF_DISABLE_Pin M24SR64_Y_GPO_Pin ISM43362_RST_Pin ISM43362_SPI3_CSN_Pin */
  GPIO_InitStruct.Pin = M24SR64_Y_RF_DISABLE_Pin|M24SR64_Y_GPO_Pin|ISM43362_RST_Pin|ISM43362_SPI3_CSN_Pin;
  GPIO_InitStruct.Mode = GPIO_MODE_OUTPUT_PP;
  GPIO_InitStruct.Pull = GPIO_NOPULL;
  GPIO_InitStruct.Speed = GPIO_SPEED_FREQ_LOW;
  HAL_GPIO_Init(GPIOE, &GPIO_InitStruct);

  /*Configure GPIO pins : USB_OTG_FS_OVRCR_EXTI3_Pin SPSGRF_915_GPIO3_EXTI5_Pin SPBTLE_RF_IRQ_EXTI6_Pin PE1 */
  GPIO_InitStruct.Pin = USB_OTG_FS_OVRCR_EXTI3_Pin|SPSGRF_915_GPIO3_EXTI5_Pin|SPBTLE_RF_IRQ_EXTI6_Pin|GPIO_PIN_1;
  GPIO_InitStruct.Mode = GPIO_MODE_IT_RISING;
  GPIO_InitStruct.Pull = GPIO_NOPULL;
  HAL_GPIO_Init(GPIOE, &GPIO_InitStruct);

  /*Configure GPIO pin : BTN_MODE_Pin */
  GPIO_InitStruct.Pin = BTN_MODE_Pin;
  GPIO_InitStruct.Mode = GPIO_MODE_IT_FALLING;
  GPIO_InitStruct.Pull = GPIO_NOPULL;
  HAL_GPIO_Init(BTN_MODE_GPIO_Port, &GPIO_InitStruct);

  /*Configure GPIO pins : MOTOR_A_IN1_Pin MOTOR_A_IN2_Pin MOTOR_B_IN4_Pin LED_MODO_Pin
                           SPBTLE_RF_RST_Pin ARD_D9_Pin */
  GPIO_InitStruct.Pin = MOTOR_A_IN1_Pin|MOTOR_A_IN2_Pin|MOTOR_B_IN4_Pin|LED_MODO_Pin
                          |SPBTLE_RF_RST_Pin|ARD_D9_Pin;
  GPIO_InitStruct.Mode = GPIO_MODE_OUTPUT_PP;
  GPIO_InitStruct.Pull = GPIO_NOPULL;
  GPIO_InitStruct.Speed = GPIO_SPEED_FREQ_LOW;
  HAL_GPIO_Init(GPIOA, &GPIO_InitStruct);

  /*Configure GPIO pins : VL53L0X_XSHUT_Pin MOTOR_B_IN3_Pin ISM43362_BOOT0_Pin ISM43362_WAKEUP_Pin
                           LED2_Pin SPSGRF_915_SDN_Pin */
  GPIO_InitStruct.Pin = VL53L0X_XSHUT_Pin|MOTOR_B_IN3_Pin|ISM43362_BOOT0_Pin|ISM43362_WAKEUP_Pin
                          |LED2_Pin|SPSGRF_915_SDN_Pin;
  GPIO_InitStruct.Mode = GPIO_MODE_OUTPUT_PP;
  GPIO_InitStruct.Pull = GPIO_NOPULL;
  GPIO_InitStruct.Speed = GPIO_SPEED_FREQ_LOW;
  HAL_GPIO_Init(GPIOB, &GPIO_InitStruct);

  /*Configure GPIO pin : IR_RX_Pin_Pin */
  GPIO_InitStruct.Pin = IR_RX_Pin_Pin;
  GPIO_InitStruct.Mode = GPIO_MODE_INPUT;
  GPIO_InitStruct.Pull = GPIO_NOPULL;
  HAL_GPIO_Init(IR_RX_Pin_GPIO_Port, &GPIO_InitStruct);

  /*Configure GPIO pins : INTERNAL_I2C2_SCL_Pin INTERNAL_I2C2_SDA_Pin */
  GPIO_InitStruct.Pin = INTERNAL_I2C2_SCL_Pin|INTERNAL_I2C2_SDA_Pin;
  GPIO_InitStruct.Mode = GPIO_MODE_AF_OD;
  GPIO_InitStruct.Pull = GPIO_PULLUP;
  GPIO_InitStruct.Speed = GPIO_SPEED_FREQ_VERY_HIGH;
  GPIO_InitStruct.Alternate = GPIO_AF4_I2C2;
  HAL_GPIO_Init(GPIOB, &GPIO_InitStruct);

  /*Configure GPIO pins : LPS22HB_INT_DRDY_EXTI0_Pin LSM6DSL_INT1_EXTI11_Pin HTS221_DRDY_EXTI15_Pin PMOD_IRQ_EXTI12_Pin */
  GPIO_InitStruct.Pin = LPS22HB_INT_DRDY_EXTI0_Pin|LSM6DSL_INT1_EXTI11_Pin|HTS221_DRDY_EXTI15_Pin|PMOD_IRQ_EXTI12_Pin;
  GPIO_InitStruct.Mode = GPIO_MODE_IT_RISING;
  GPIO_InitStruct.Pull = GPIO_NOPULL;
  HAL_GPIO_Init(GPIOD, &GPIO_InitStruct);

  /*Configure GPIO pins : USB_OTG_FS_PWR_EN_Pin SPBTLE_RF_SPI3_CSN_Pin PMOD_RESET_Pin STSAFE_A100_RESET_Pin */
  GPIO_InitStruct.Pin = USB_OTG_FS_PWR_EN_Pin|SPBTLE_RF_SPI3_CSN_Pin|PMOD_RESET_Pin|STSAFE_A100_RESET_Pin;
  GPIO_InitStruct.Mode = GPIO_MODE_OUTPUT_PP;
  GPIO_InitStruct.Pull = GPIO_NOPULL;
  GPIO_InitStruct.Speed = GPIO_SPEED_FREQ_LOW;
  HAL_GPIO_Init(GPIOD, &GPIO_InitStruct);

  /*Configure GPIO pin : PD14 */
  GPIO_InitStruct.Pin = GPIO_PIN_14;
  GPIO_InitStruct.Mode = GPIO_MODE_INPUT;
  GPIO_InitStruct.Pull = GPIO_NOPULL;
  HAL_GPIO_Init(GPIOD, &GPIO_InitStruct);

  /*Configure GPIO pins : PC6 LED3_WIFI__LED4_BLE_Pin */
  GPIO_InitStruct.Pin = GPIO_PIN_6|LED3_WIFI__LED4_BLE_Pin;
  GPIO_InitStruct.Mode = GPIO_MODE_OUTPUT_PP;
  GPIO_InitStruct.Pull = GPIO_NOPULL;
  GPIO_InitStruct.Speed = GPIO_SPEED_FREQ_LOW;
  HAL_GPIO_Init(GPIOC, &GPIO_InitStruct);

  /*Configure GPIO pins : VL53L0X_GPIO1_EXTI7_Pin LSM3MDL_DRDY_EXTI8_Pin */
  GPIO_InitStruct.Pin = VL53L0X_GPIO1_EXTI7_Pin|LSM3MDL_DRDY_EXTI8_Pin;
  GPIO_InitStruct.Mode = GPIO_MODE_IT_RISING;
  GPIO_InitStruct.Pull = GPIO_NOPULL;
  HAL_GPIO_Init(GPIOC, &GPIO_InitStruct);

  /*Configure GPIO pin : PMOD_SPI2_SCK_Pin */
  GPIO_InitStruct.Pin = PMOD_SPI2_SCK_Pin;
  GPIO_InitStruct.Mode = GPIO_MODE_AF_PP;
  GPIO_InitStruct.Pull = GPIO_NOPULL;
  GPIO_InitStruct.Speed = GPIO_SPEED_FREQ_VERY_HIGH;
  GPIO_InitStruct.Alternate = GPIO_AF5_SPI2;
  HAL_GPIO_Init(PMOD_SPI2_SCK_GPIO_Port, &GPIO_InitStruct);

  /*Configure GPIO pins : PMOD_UART2_CTS_Pin PMOD_UART2_RTS_Pin PMOD_UART2_TX_Pin PMOD_UART2_RX_Pin */
  GPIO_InitStruct.Pin = PMOD_UART2_CTS_Pin|PMOD_UART2_RTS_Pin|PMOD_UART2_TX_Pin|PMOD_UART2_RX_Pin;
  GPIO_InitStruct.Mode = GPIO_MODE_AF_PP;
  GPIO_InitStruct.Pull = GPIO_NOPULL;
  GPIO_InitStruct.Speed = GPIO_SPEED_FREQ_VERY_HIGH;
  GPIO_InitStruct.Alternate = GPIO_AF7_USART2;
  HAL_GPIO_Init(GPIOD, &GPIO_InitStruct);

  /* EXTI interrupt init*/
  HAL_NVIC_SetPriority(EXTI1_IRQn, 0, 0);
  HAL_NVIC_EnableIRQ(EXTI1_IRQn);

  HAL_NVIC_SetPriority(EXTI9_5_IRQn, 0, 0);
  HAL_NVIC_EnableIRQ(EXTI9_5_IRQn);

  HAL_NVIC_SetPriority(EXTI15_10_IRQn, 0, 0);
  HAL_NVIC_EnableIRQ(EXTI15_10_IRQn);

}

/* USER CODE BEGIN 4 */
uint8_t Generar_ID_Unica(void) {
    // Puntero a la dirección base del registro UID de la STM32L4
    volatile uint32_t *uid_base = (volatile uint32_t *)0x1FFF7590;

    uint32_t palabra0 = uid_base[0];
    uint32_t palabra1 = uid_base[1];
    uint32_t palabra2 = uid_base[2];

    // Plegado del identificador mediante XOR
    uint32_t xor_combinado = palabra0 ^ palabra1 ^ palabra2;

    uint8_t id_reducida = (uint8_t)((xor_combinado & 0xFF) ^
                                    ((xor_combinado >> 8) & 0xFF) ^
                                    ((xor_combinado >> 16) & 0xFF) ^
                                    ((xor_combinado >> 24) & 0xFF));

    if (id_reducida == 0) id_reducida = 0x77;

    return id_reducida;
}
/* USER CODE END 4 */

void Error_Handler(void)
{
	__disable_irq();
	while (1) {
	}
}
